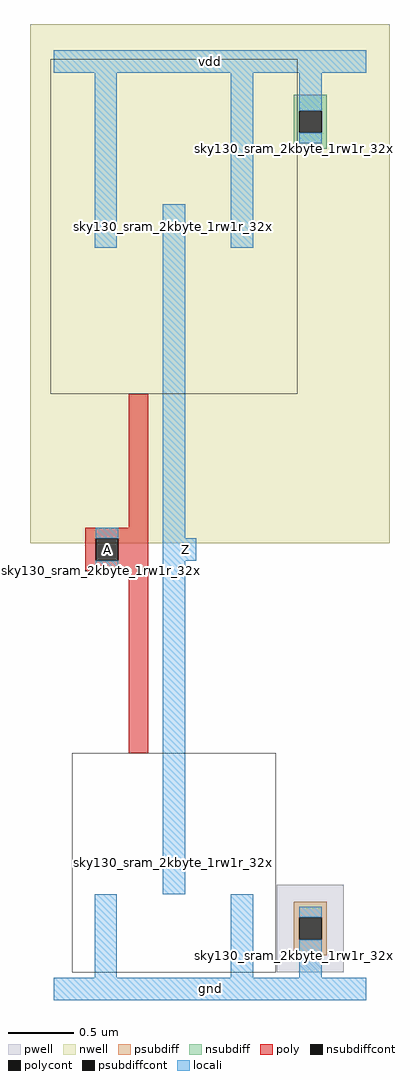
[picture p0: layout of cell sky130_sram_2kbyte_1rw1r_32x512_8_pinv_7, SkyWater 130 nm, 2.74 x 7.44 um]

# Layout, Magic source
magic
tech sky130A
magscale 1 2
<< nwell >>
rect -36 679 512 1471
<< pwell >>
rect 340 25 442 159
<< psubdiff >>
rect 366 109 416 133
rect 366 75 374 109
rect 408 75 416 109
rect 366 51 416 75
<< nsubdiff >>
rect 366 1339 416 1363
rect 366 1305 374 1339
rect 408 1305 416 1339
rect 366 1281 416 1305
<< psubdiffcont >>
rect 374 75 408 109
<< nsubdiffcont >>
rect 374 1305 408 1339
<< poly >>
rect 114 703 144 907
rect 48 687 144 703
rect 48 653 64 687
rect 98 653 144 687
rect 48 637 144 653
rect 114 359 144 637
<< polycont >>
rect 64 653 98 687
<< locali >>
rect 0 1397 476 1431
rect 62 1130 96 1397
rect 64 687 98 703
rect 64 637 98 653
rect 166 687 200 1196
rect 270 1130 304 1397
rect 374 1339 408 1397
rect 374 1289 408 1305
rect 166 653 217 687
rect 166 144 200 653
rect 62 17 96 144
rect 270 17 304 144
rect 374 109 408 125
rect 374 17 408 75
rect 0 -17 476 17
use sky130_sram_2kbyte_1rw1r_32x512_8_contact_16  sky130_sram_2kbyte_1rw1r_32x512_8_contact_16_0
transform 1 0 48 0 1 637
box 0 0 1 1
use sky130_sram_2kbyte_1rw1r_32x512_8_contact_29  sky130_sram_2kbyte_1rw1r_32x512_8_contact_29_0
transform 1 0 366 0 1 51
box 0 0 1 1
use sky130_sram_2kbyte_1rw1r_32x512_8_contact_28  sky130_sram_2kbyte_1rw1r_32x512_8_contact_28_0
transform 1 0 366 0 1 1281
box 0 0 1 1
use sky130_sram_2kbyte_1rw1r_32x512_8_nmos_m2_w1_260_sli_dli_da_p  sky130_sram_2kbyte_1rw1r_32x512_8_nmos_m2_w1_260_sli_dli_da_p_0
transform 1 0 54 0 1 51
box -26 -26 284 308
use sky130_sram_2kbyte_1rw1r_32x512_8_pmos_m2_w2_000_sli_dli_da_p  sky130_sram_2kbyte_1rw1r_32x512_8_pmos_m2_w2_000_sli_dli_da_p_0
transform 1 0 54 0 1 963
box -59 -56 317 454
<< labels >>
rlabel locali s 81 670 81 670 4 A
port 1 nsew
rlabel locali s 200 670 200 670 4 Z
port 2 nsew
rlabel locali s 238 0 238 0 4 gnd
port 3 nsew
rlabel locali s 238 1414 238 1414 4 vdd
port 4 nsew
<< properties >>
string FIXED_BBOX 0 0 476 1414
string GDS_FILE $PDKPATH/libs.ref/sky130_sram_macros/gds/sky130_sram_2kbyte_1rw1r_32x512_8.gds
string GDS_END 392406
string GDS_START 390408
<< end >>
